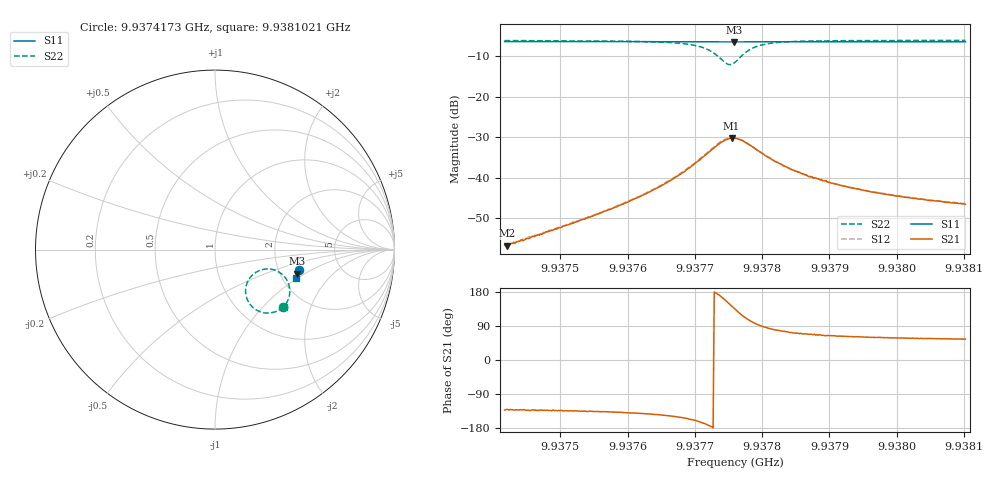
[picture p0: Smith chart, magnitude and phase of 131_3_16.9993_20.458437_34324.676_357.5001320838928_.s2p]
#  HZ  S  RI  R  50.00
! Rohde & Schwarz Vector Network Analyzer
! Rohde-Schwarz,ZNB20-2Port,1311601062101988,3.16
! Created: UTC 3/20/2024, 10:57:57 PM
! freq[Hz]  re:S11  im:S11  re:S21  im:S21  re:S12  im:S12  re:S22  im:S22
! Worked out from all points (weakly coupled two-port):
!   401 points, 9.9374173 GHz to 9.9381021 GHz, reference 50 ohm
!   highest |S21| = -30.22 dB at 9.9377546 GHz (marker M1); lowest = -56.8 dB at 9.9374207 GHz (marker M2)
!   lowest |S11| = -6.4 dB at 9.937758 GHz (marker M3), VSWR 2.83, Z = 124 - j43.2 ohm
!   |S11| at or under -10 dB: nowhere
!   |S22| runs from -12.0 to -6.0 dB; largest |S21 - S12| = 0.0015
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9.93741732e9  0.4693 -0.114  -0.000985 -0.00108  -0.000954 -0.00105  0.3807 -0.3191
9.93742074e9  0.4692 -0.1143  -0.00093 -0.0011  -0.00097 -0.00108  0.3802 -0.3198
9.93753202e9  0.4668 -0.1219  -0.00211 -0.00215  -0.00218 -0.00212  0.3644 -0.3318
9.93759707e9  0.4653 -0.1261  -0.00362 -0.00318  -0.00379 -0.00321  0.3476 -0.3415
9.93764671e9  0.4637 -0.1297  -0.00622 -0.00442  -0.00641 -0.00441  0.3227 -0.3506
9.93768095e9  0.4626 -0.1322  -0.01 -0.00533  -0.0104 -0.00524  0.2891 -0.3541
9.93769978e9  0.4618 -0.1334  -0.014 -0.00528  -0.0142 -0.00505  0.2575 -0.3486
9.93771519e9  0.4608 -0.1344  -0.0183 -0.00385  -0.019 -0.00342  0.2218 -0.3307
9.93772717e9  0.46 -0.1349  -0.0228 -0.000382  -0.0234 8.74e-05  0.1902 -0.2977
9.93773916e9  0.4591 -0.1348  -0.0266 0.00617  -0.0271 0.00714  0.1707 -0.2376
9.93774771e9  0.4587 -0.1347  -0.0266 0.0131  -0.0267 0.0145  0.1805 -0.182
9.93775456e9  0.4587 -0.1345  -0.0244 0.0188  -0.024 0.0199  0.2087 -0.1416
9.93775799e9  0.4586 -0.1344  -0.0223 0.021  -0.022 0.0223  0.2284 -0.1265
9.9377597e9  0.4587 -0.1343  -0.0212 0.0221  -0.0207 0.0232  0.2389 -0.1206
9.93776826e9  0.4593 -0.1344  -0.0149 0.0252  -0.0141 0.0259  0.2946 -0.108
9.93777853e9  0.46 -0.1349  -0.00776 0.025  -0.00688 0.0254  0.3491 -0.1209
9.93779736e9  0.4605 -0.1364  -0.000227 0.0206  0.000467 0.0206  0.4 -0.1686
9.93783331e9  0.4602 -0.1396  0.00341 0.0133  0.00379 0.0134  0.417 -0.2322
9.9378744e9  0.4594 -0.1426  0.00392 0.00937  0.00408 0.00933  0.4118 -0.2665
9.93792746e9  0.458 -0.1463  0.00359 0.00675  0.00374 0.0067  0.403 -0.2886
9.93798909e9  0.4565 -0.1506  0.00322 0.00522  0.0033 0.00524  0.3949 -0.3029
9.93810208e9  0.4536 -0.158  0.00267 0.00383  0.00278 0.00386  0.3836 -0.3185
